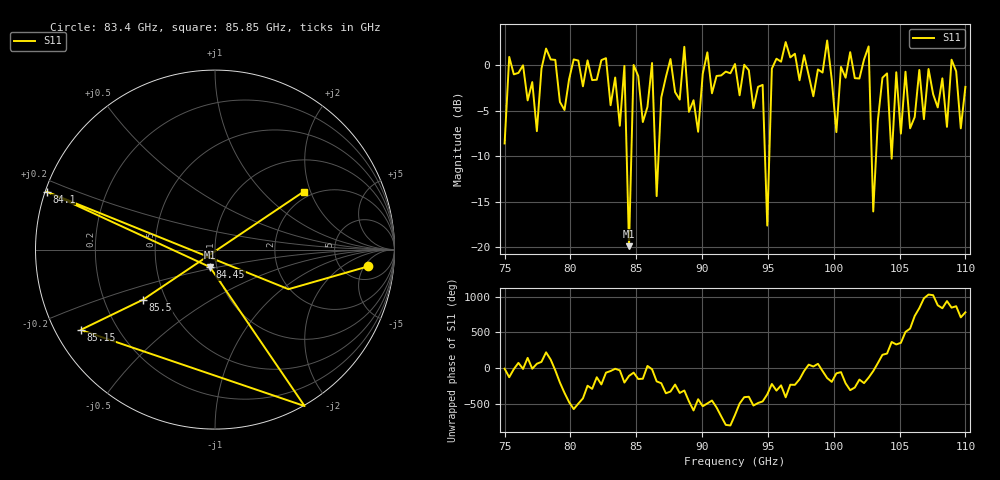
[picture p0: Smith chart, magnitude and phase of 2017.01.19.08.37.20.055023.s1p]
!Created with skrf (http://scikit-rf.org).
# GHz S RI R 50.0
!freq ReS11 ImS11
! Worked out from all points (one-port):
!   101 points, 75 GHz to 110 GHz, reference 50 ohm
!   lowest |S11| = -19.9 dB at 84.45 GHz (marker M1), VSWR 1.23, Z = 46.4 - j9.12 ohm
!   |S11| at or under -10 dB: 84.27534 GHz to 84.62375 GHz (348.4 MHz wide, 0.413 % of centre); 86.44506 GHz to 86.69156 GHz (246.5 MHz wide, 0.285 % of centre); 94.77745 GHz to 95.10468 GHz (327.2 MHz wide, 0.345 % of centre) (the widest 3 of 5)
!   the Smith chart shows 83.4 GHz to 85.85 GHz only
!   S11 on the Smith chart (normalised r, x): 83.4 GHz: 9, -6; 84.1 GHz: 0.00, +0.17; 84.45 GHz: 0.93, -0.18; 85.15 GHz: 0.07, -0.27; 85.5 GHz: 0.37, -0.27; 85.85 GHz: 1.81, +1.80
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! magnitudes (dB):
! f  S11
! 75 GHz  -8.6
! 75.35 GHz  0.9
! 79.55 GHz  -4.9
! 83.4 GHz  -1.3
! 83.75 GHz  -6.7
! 84.1 GHz  -0.1
! 84.45 GHz  -19.9
! 84.8 GHz  0.0
! 85.15 GHz  -1.2
! 85.5 GHz  -6.2
! 85.85 GHz  -4.6
! 86.2 GHz  0.3
! 86.55 GHz  -14.4
! 87.25 GHz  -1.3
! 88.3 GHz  -3.8
! 92.5 GHz  0.1
! 94.6 GHz  -2.2
! 94.95 GHz  -17.6
! 95.3 GHz  -0.4
! 97.05 GHz  1.3
! 99.5 GHz  2.7
! 100.2 GHz  -7.3
! 101.2 GHz  1.4
! 102.7 GHz  2.1
! 103 GHz  -16.1
! 103.7 GHz  -1.4
! 105.8 GHz  -6.9
! 110 GHz  -2.4
